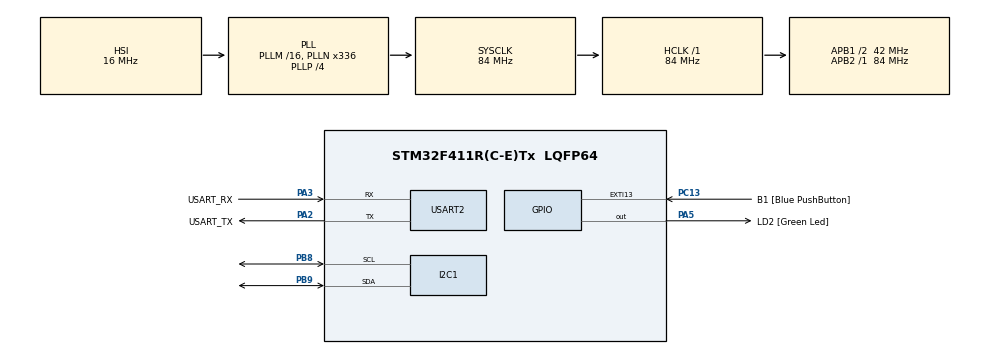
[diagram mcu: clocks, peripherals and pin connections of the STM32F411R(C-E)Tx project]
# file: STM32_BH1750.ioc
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Mcu.Family=STM32F4
Mcu.Name=STM32F411R(C-E)Tx
Mcu.Package=LQFP64
NVIC.PriorityGroup=NVIC_PRIORITYGROUP_0
PA13.GPIO_Label=TMS
PA13.Mode=Serial_Wire
PA13.Signal=SYS_JTMS-SWDIO
PA14.GPIO_Label=TCK
PA14.Mode=Serial_Wire
PA14.Signal=SYS_JTCK-SWCLK
PA2.GPIO_Label=USART_TX
PA2.Mode=Asynchronous
PA2.Signal=USART2_TX
PA3.GPIO_Label=USART_RX
PA3.Mode=Asynchronous
PA3.Signal=USART2_RX
PA5.GPIO_Label=LD2 [Green Led]
PA5.Signal=GPIO_Output
PB3.GPIO_Label=SWO
PB3.Signal=SYS_JTDO-SWO
PB8.Mode=I2C
PB8.Signal=I2C1_SCL
PB9.Mode=I2C
PB9.Signal=I2C1_SDA
PC13-ANTI_TAMP.GPIO_Label=B1 [Blue PushButton]
PC13-ANTI_TAMP.GPIO_ModeDefaultEXTI=GPIO_MODE_IT_FALLING
PC13-ANTI_TAMP.Signal=GPXTI13
PC14-OSC32_IN.Mode=LSE-External-Oscillator
PC14-OSC32_IN.Signal=RCC_OSC32_IN
PC15-OSC32_OUT.Mode=LSE-External-Oscillator
PC15-OSC32_OUT.Signal=RCC_OSC32_OUT
PH0\ -\ OSC_IN.Mode=HSE-External-Clock-Source
PH0\ -\ OSC_IN.Signal=RCC_OSC_IN
PH1\ -\ OSC_OUT.Mode=HSE-External-Clock-Source
PH1\ -\ OSC_OUT.Signal=RCC_OSC_OUT
ProjectManager.HeapSize=0x200
ProjectManager.StackSize=0x400
ProjectManager.TargetToolchain=STM32CubeIDE
RCC.48MHZClocksFreq_Value=84000000
RCC.AHBFreq_Value=84000000
RCC.APB1CLKDivider=RCC_HCLK_DIV2
RCC.APB1Freq_Value=42000000
RCC.APB1TimFreq_Value=84000000
RCC.APB2Freq_Value=84000000
RCC.APB2TimFreq_Value=84000000
RCC.CortexFreq_Value=84000000
RCC.FLatency-AdvancedSettings=FLASH_LATENCY_2
RCC.HCLKFreq_Value=84000000
RCC.HSE_VALUE=8000000
RCC.HSI_VALUE=16000000
RCC.PLLN=336
RCC.PLLP=RCC_PLLP_DIV4
RCC.SYSCLKFreq_VALUE=84000000
RCC.SYSCLKSource=RCC_SYSCLKSOURCE_PLLCLK
RCC.VCOOutputFreq_Value=336000000
USART2.VirtualMode=VM_ASYNC
board=NUCLEO-F411RE

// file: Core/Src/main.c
/* USER CODE BEGIN Header */
/**
 ******************************************************************************
 * @file           : main.c
 * @brief          : Main program body
 ******************************************************************************
 * @attention
 *
 * Copyright (c) 2025 STMicroelectronics.
 * All rights reserved.
 *
 * This software is licensed under terms that can be found in the LICENSE file
 * in the root directory of this software component.
 * If no LICENSE file comes with this software, it is provided AS-IS.
 *
 ******************************************************************************
 */
/* USER CODE END Header */
#include "main.h"

/* USER CODE BEGIN Includes */
#include <stdarg.h>
#include <stdio.h>
#include "bh1750.h"
/* USER CODE END Includes */

I2C_HandleTypeDef hi2c1;

UART_HandleTypeDef huart2;

/* USER CODE BEGIN PV */
bh1750_handle_t bh1750;
/* USER CODE END PV */

void SystemClock_Config(void);
static void MX_GPIO_Init(void);
static void MX_USART2_UART_Init(void);
static void MX_I2C1_Init(void);
/* USER CODE BEGIN PFP */
#define LOG_BUFFER_SIZE 128
const uint8_t MAX_UART_TIMEOUT = 10;
static char log_buffer[LOG_BUFFER_SIZE];
/* USER CODE END PFP */

/* USER CODE BEGIN 0 */
void log_message(UART_HandleTypeDef *huart_handle, const char *format, ...) {
	va_list args;
	va_start(args, format);
	int len = vsnprintf(log_buffer, LOG_BUFFER_SIZE, format, args);
	va_end(args);

	if (len > 0) {
		HAL_UART_Transmit(huart_handle, (uint8_t*) log_buffer, len,
				MAX_UART_TIMEOUT);
	}
}
/* USER CODE END 0 */

int main(void) {

	/* MCU Configuration--------------------------------------------------------*/

	/* Reset of all peripherals, Initializes the Flash interface and the Systick. */
	HAL_Init();

	/* Configure the system clock */
	SystemClock_Config();

	/* Initialize all configured peripherals */
	MX_GPIO_Init();
	MX_USART2_UART_Init();
	MX_I2C1_Init();
	/* USER CODE BEGIN 2 */

	log_message(&huart2, "Initializing BH1750 Sensor...\r\n");
	bh1750_init(&bh1750, &hi2c1, BH1750_I2C_ADDR_L);

	if (bh1750.status == BH1750_OK) {
		log_message(&huart2, "BH1750 Sensor Initialized.\r\n\n");
	} else {
		log_message(&huart2, "Error: %s\r\n\n", bh1750_status_to_string(bh1750.status));
		Error_Handler();
	}

	/* USER CODE END 2 */

	/* Infinite loop */
	/* USER CODE BEGIN WHILE */
	while (1) {
		bh1750_read_lux(&bh1750);
		if (bh1750.status == BH1750_OK) {
			log_message(&huart2, "Ambient Light: %.2f Lux\r\n", bh1750.lux);
		} else {
			log_message(&huart2, "Error: %s\r\n\n", bh1750_status_to_string(bh1750.status));
		}
		HAL_Delay(1000);
		/* USER CODE END WHILE */

	}
}

void SystemClock_Config(void) {
	RCC_OscInitTypeDef RCC_OscInitStruct = { 0 };
	RCC_ClkInitTypeDef RCC_ClkInitStruct = { 0 };

	/** Configure the main internal regulator output voltage
	 */
	__HAL_RCC_PWR_CLK_ENABLE();
	__HAL_PWR_VOLTAGESCALING_CONFIG(PWR_REGULATOR_VOLTAGE_SCALE1);

	/** Initializes the RCC Oscillators according to the specified parameters
	 * in the RCC_OscInitTypeDef structure.
	 */
	RCC_OscInitStruct.OscillatorType = RCC_OSCILLATORTYPE_HSI;
	RCC_OscInitStruct.HSIState = RCC_HSI_ON;
	RCC_OscInitStruct.HSICalibrationValue = RCC_HSICALIBRATION_DEFAULT;
	RCC_OscInitStruct.PLL.PLLState = RCC_PLL_ON;
	RCC_OscInitStruct.PLL.PLLSource = RCC_PLLSOURCE_HSI;
	RCC_OscInitStruct.PLL.PLLM = 16;
	RCC_OscInitStruct.PLL.PLLN = 336;
	RCC_OscInitStruct.PLL.PLLP = RCC_PLLP_DIV4;
	RCC_OscInitStruct.PLL.PLLQ = 4;
	if (HAL_RCC_OscConfig(&RCC_OscInitStruct) != HAL_OK) {
		Error_Handler();
	}

	/** Initializes the CPU, AHB and APB buses clocks
	 */
	RCC_ClkInitStruct.ClockType = RCC_CLOCKTYPE_HCLK | RCC_CLOCKTYPE_SYSCLK
			| RCC_CLOCKTYPE_PCLK1 | RCC_CLOCKTYPE_PCLK2;
	RCC_ClkInitStruct.SYSCLKSource = RCC_SYSCLKSOURCE_PLLCLK;
	RCC_ClkInitStruct.AHBCLKDivider = RCC_SYSCLK_DIV1;
	RCC_ClkInitStruct.APB1CLKDivider = RCC_HCLK_DIV2;
	RCC_ClkInitStruct.APB2CLKDivider = RCC_HCLK_DIV1;

	if (HAL_RCC_ClockConfig(&RCC_ClkInitStruct, FLASH_LATENCY_2) != HAL_OK) {
		Error_Handler();
	}
}

static void MX_I2C1_Init(void) {

	hi2c1.Instance = I2C1;
	hi2c1.Init.ClockSpeed = 100000;
	hi2c1.Init.DutyCycle = I2C_DUTYCYCLE_2;
	hi2c1.Init.OwnAddress1 = 0;
	hi2c1.Init.AddressingMode = I2C_ADDRESSINGMODE_7BIT;
	hi2c1.Init.DualAddressMode = I2C_DUALADDRESS_DISABLE;
	hi2c1.Init.OwnAddress2 = 0;
	hi2c1.Init.GeneralCallMode = I2C_GENERALCALL_DISABLE;
	hi2c1.Init.NoStretchMode = I2C_NOSTRETCH_DISABLE;
	if (HAL_I2C_Init(&hi2c1) != HAL_OK) {
		Error_Handler();
	}

}

static void MX_USART2_UART_Init(void) {

	huart2.Instance = USART2;
	huart2.Init.BaudRate = 115200;
	huart2.Init.WordLength = UART_WORDLENGTH_8B;
	huart2.Init.StopBits = UART_STOPBITS_1;
	huart2.Init.Parity = UART_PARITY_NONE;
	huart2.Init.Mode = UART_MODE_TX_RX;
	huart2.Init.HwFlowCtl = UART_HWCONTROL_NONE;
	huart2.Init.OverSampling = UART_OVERSAMPLING_16;
	if (HAL_UART_Init(&huart2) != HAL_OK) {
		Error_Handler();
	}

}

static void MX_GPIO_Init(void) {
	GPIO_InitTypeDef GPIO_InitStruct = { 0 };

	/* GPIO Ports Clock Enable */
	__HAL_RCC_GPIOC_CLK_ENABLE();
	__HAL_RCC_GPIOH_CLK_ENABLE();
	__HAL_RCC_GPIOA_CLK_ENABLE();
	__HAL_RCC_GPIOB_CLK_ENABLE();

	/*Configure GPIO pin Output Level */
	HAL_GPIO_WritePin(LD2_GPIO_Port, LD2_Pin, GPIO_PIN_RESET);

	/*Configure GPIO pin : B1_Pin */
	GPIO_InitStruct.Pin = B1_Pin;
	GPIO_InitStruct.Mode = GPIO_MODE_IT_FALLING;
	GPIO_InitStruct.Pull = GPIO_NOPULL;
	HAL_GPIO_Init(B1_GPIO_Port, &GPIO_InitStruct);

	/*Configure GPIO pin : LD2_Pin */
	GPIO_InitStruct.Pin = LD2_Pin;
	GPIO_InitStruct.Mode = GPIO_MODE_OUTPUT_PP;
	GPIO_InitStruct.Pull = GPIO_NOPULL;
	GPIO_InitStruct.Speed = GPIO_SPEED_FREQ_LOW;
	HAL_GPIO_Init(LD2_GPIO_Port, &GPIO_InitStruct);

}

void Error_Handler(void) {
	__disable_irq();
	while (1) {
	}
}
